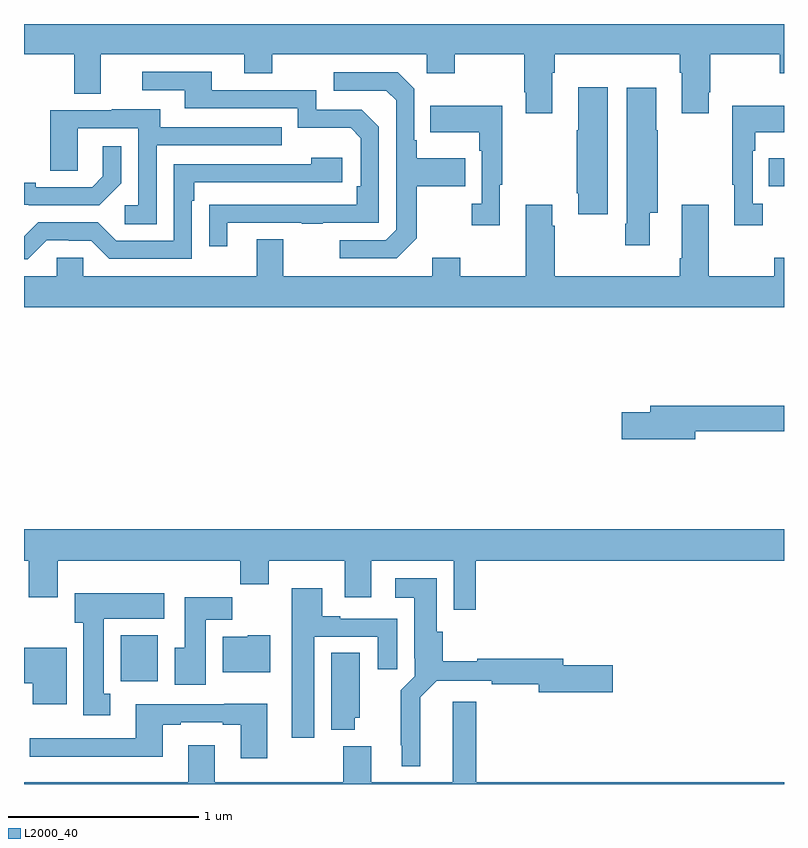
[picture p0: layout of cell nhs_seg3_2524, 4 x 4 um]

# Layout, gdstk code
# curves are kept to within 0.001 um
import gdstk
lib = gdstk.Library(unit=1e-6, precision=1e-09)
def R(c, l, rs):  # rectangles x0, y0, x1, y1
    for r in rs: c.add(gdstk.rectangle(r[:2], r[2:], *l))
def P(c, l, *ps):  # polygons
    for p in ps: c.add(gdstk.Polygon(p, *l))
L2000_40 = (2000, 40)

nhs_seg3_2524 = lib.new_cell('nhs_seg3_2524')
R(nhs_seg3_2524, L2000_40, [(241.508,706.94,241.705,707.182), (244.921,709.546,245,709.693)])
P(nhs_seg3_2524, L2000_40, [(243.781,710.144),(243.794,710.144),(243.794,710.24),(244.451,710.24),(244.451,710.144),(244.463,710.144),(244.463,709.929),(244.603,709.929),(244.603,710.041),(244.611,710.041),(244.611,710.24),(244.978,710.24),(244.978,710.141),(245,710.141),(245,710.4),(241,710.4),(241,710.24),(241.265,710.24),(241.265,710.032),(241.405,710.032),(241.405,710.24),(242.159,710.24),(242.159,710.141),(242.307,710.141),(242.307,710.24),(243.12,710.24),(243.12,710.141),(243.267,710.141),(243.267,710.24),(243.634,710.24),(243.634,710.041),(243.641,710.041),(243.641,709.929),(243.781,709.929)],
  [(242.071,709.353),(242.461,709.353),(242.461,709.348),(242.573,709.348),(242.573,709.353),(242.868,709.353),(242.868,709.86),(242.778,709.95),(242.538,709.95),(242.538,710.052),(241.987,710.052),(241.987,710.148),(241.623,710.148),(241.623,710.052),(241.847,710.052),(241.847,709.956),(242.442,709.956),(242.442,709.853),(242.719,709.853),(242.772,709.8),(242.772,709.546),(242.752,709.546),(242.752,709.449),(241.975,709.448),(241.975,709.23),(242.071,709.23)],
  [(243.067,709.273),(243.067,709.546),(243.323,709.546),(243.323,709.693),(243.067,709.693),(243.067,709.789),(243.054,709.789),(243.054,710.058),(242.967,710.145),(242.631,710.145),(242.631,710.049),(242.907,710.049),(242.958,709.998),(242.958,709.317),(242.904,709.263),(242.661,709.263),(242.661,709.167),(242.961,709.167)],
  [(244.072,710.068),(243.917,710.068),(243.917,709.841),(243.91,709.841),(243.91,709.51),(243.917,709.51),(243.917,709.398),(244.072,709.398)],
  [(244.294,709.406),(244.335,709.406),(244.335,709.841),(244.327,709.841),(244.327,710.065),(244.172,710.065),(244.172,709.348),(244.165,709.348),(244.165,709.236),(244.294,709.236)],
  [(243.505,709.553),(243.517,709.553),(243.517,709.969),(243.139,709.969),(243.139,709.829),(243.396,709.829),(243.396,709.733),(243.408,709.733),(243.408,709.454),(243.357,709.454),(243.357,709.341),(243.505,709.341)],
  [(244.888,709.454),(244.836,709.454),(244.836,709.733),(244.849,709.733),(244.849,709.829),(245,709.829),(245,709.969),(244.728,709.969),(244.728,709.553),(244.739,709.553),(244.739,709.341),(244.888,709.341)],
  [(241.698,709.761),(242.357,709.761),(242.357,709.857),(241.717,709.857),(241.717,709.951),(241.463,709.951),(241.463,709.947),(241.139,709.947),(241.139,709.627),(241.284,709.627),(241.284,709.851),(241.602,709.851),(241.602,709.446),(241.53,709.446),(241.53,709.345),(241.698,709.345)],
  [(241.512,709.562),(241.512,709.756),(241.415,709.756),(241.415,709.599),(241.358,709.542),(241.063,709.542),(241.063,709.565),(241,709.565),(241,709.449),(241.024,709.449),(241.024,709.446),(241.396,709.446)],
  [(241.119,709.263),(241.235,709.263),(241.235,709.26),(241.353,709.26),(241.449,709.164),(241.884,709.164),(241.884,709.469),(241.897,709.469),(241.897,709.566),(242.674,709.566),(242.674,709.696),(242.513,709.696),(242.513,709.662),(241.788,709.662),(241.788,709.26),(241.485,709.26),(241.389,709.356),(241.074,709.356),(241,709.282),(241,709.163),(241.019,709.163)],
  [(245,709.171),(244.948,709.171),(244.948,709.072),(244.603,709.072),(244.603,709.45),(244.463,709.45),(244.463,709.168),(244.451,709.168),(244.451,709.072),(243.794,709.072),(243.794,709.337),(243.781,709.337),(243.781,709.45),(243.641,709.45),(243.641,709.072),(243.297,709.072),(243.297,709.171),(243.149,709.171),(243.149,709.072),(242.365,709.072),(242.365,709.267),(242.225,709.267),(242.225,709.072),(241.311,709.072),(241.311,709.17),(241.173,709.17),(241.173,709.072),(241,709.072),(241,708.908),(245,708.908)],
  [(244.534,708.256),(245,708.256),(245,708.392),(244.295,708.392),(244.295,708.356),(244.146,708.356),(244.146,708.214),(244.534,708.214)],
  [(243.377,707.576),(245,707.576),(245,707.74),(241,707.74),(241,707.576),(241.025,707.576),(241.025,707.382),(241.177,707.382),(241.177,707.576),(242.137,707.576),(242.137,707.452),(242.289,707.452),(242.289,707.576),(242.687,707.576),(242.687,707.382),(242.827,707.382),(242.827,707.576),(243.261,707.576),(243.261,707.316),(243.377,707.316)],
  [(243.085,706.856),(243.172,706.944),(243.463,706.944),(243.463,706.924),(243.71,706.924),(243.71,706.882),(244.099,706.882),(244.099,707.024),(243.838,707.024),(243.838,707.06),(243.386,707.06),(243.386,707.045),(243.203,707.045),(243.203,707.202),(243.172,707.202),(243.172,707.482),(242.955,707.482),(242.955,707.381),(243.053,707.381),(243.053,707.062),(243.057,707.062),(243.057,706.968),(242.983,706.894),(242.983,706.603),(242.987,706.603),(242.987,706.493),(243.085,706.493)],
  [(242.527,707.175),(242.861,707.175),(242.861,707.004),(242.965,707.004),(242.965,707.271),(242.665,707.271),(242.665,707.284),(242.569,707.284),(242.569,707.431),(242.408,707.431),(242.408,706.644),(242.527,706.644)],
  [(241.453,706.874),(241.42,706.874),(241.42,707.27),(241.738,707.27),(241.738,707.404),(241.268,707.404),(241.268,707.25),(241.313,707.25),(241.313,706.761),(241.453,706.761)],
  [(241.957,707.264),(242.096,707.264),(242.096,707.383),(241.847,707.383),(241.847,707.116),(241.793,707.116),(241.793,706.923),(241.957,706.923)],
  [(242.296,707.182),(242.178,707.182),(242.178,707.176),(242.045,707.176),(242.045,706.988),(242.296,706.988)],
  [(241.225,707.116),(241,707.116),(241,706.931),(241.046,706.931),(241.046,706.82),(241.225,706.82)],
  [(242.74,706.749),(242.767,706.749),(242.767,707.09),(242.618,707.09),(242.618,706.685),(242.74,706.685)],
  [(245,706.408),(243.38,706.408),(243.38,706.834),(243.257,706.834),(243.257,706.408),(242.827,706.408),(242.827,706.6),(242.68,706.6),(242.68,706.408),(242.005,706.408),(242.005,706.603),(241.865,706.603),(241.865,706.408),(241,706.408),(241,706.4),(245,706.4)],
  [(242.281,706.822),(242.053,706.822),(242.053,706.821),(241.589,706.821),(241.589,706.641),(241.029,706.641),(241.029,706.544),(241.729,706.544),(241.729,706.713),(241.825,706.713),(241.825,706.725),(242.045,706.725),(242.045,706.713),(242.141,706.713),(242.141,706.536),(242.281,706.536)])

lib.write_gds('nhs_seg3_2524.gds')
